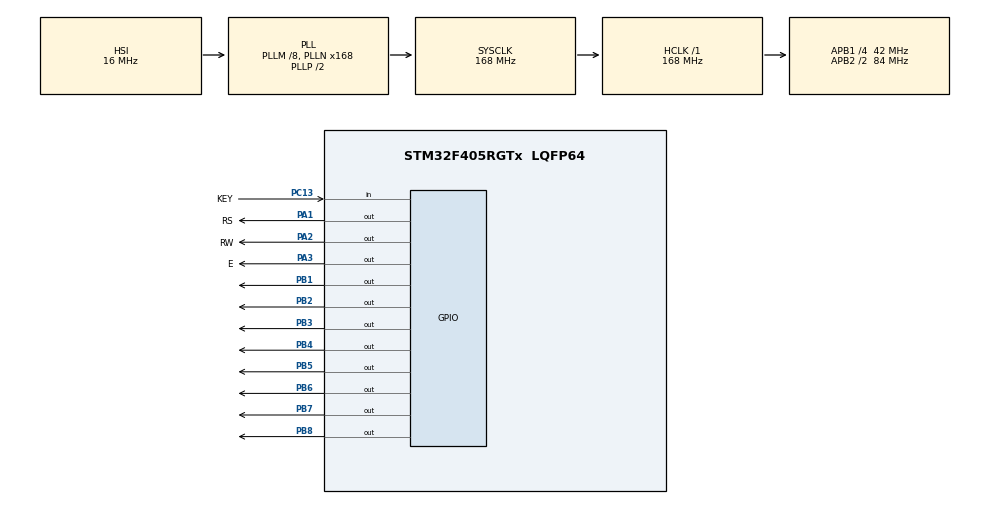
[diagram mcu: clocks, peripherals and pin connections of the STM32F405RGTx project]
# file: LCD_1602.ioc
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Mcu.Family=STM32F4
Mcu.Name=STM32F405RGTx
Mcu.Package=LQFP64
NVIC.PriorityGroup=NVIC_PRIORITYGROUP_4
PA1.GPIO_Label=RS
PA1.Signal=GPIO_Output
PA13.Mode=Serial_Wire
PA13.Signal=SYS_JTMS-SWDIO
PA14.Mode=Serial_Wire
PA14.Signal=SYS_JTCK-SWCLK
PA2.GPIO_Label=RW
PA2.Signal=GPIO_Output
PA3.GPIO_Label=E
PA3.Signal=GPIO_Output
PB1.Signal=GPIO_Output
PB2.Signal=GPIO_Output
PB3.Signal=GPIO_Output
PB4.Signal=GPIO_Output
PB5.Signal=GPIO_Output
PB6.Signal=GPIO_Output
PB7.Signal=GPIO_Output
PB8.Signal=GPIO_Output
PC13-ANTI_TAMP.GPIO_Label=KEY
PC13-ANTI_TAMP.GPIO_PuPd=GPIO_PULLDOWN
PC13-ANTI_TAMP.Signal=GPIO_Input
PC14-OSC32_IN.Mode=LSE-External-Oscillator
PC14-OSC32_IN.Signal=RCC_OSC32_IN
PC15-OSC32_OUT.Mode=LSE-External-Oscillator
PC15-OSC32_OUT.Signal=RCC_OSC32_OUT
PH0-OSC_IN.Mode=HSE-External-Oscillator
PH0-OSC_IN.Signal=RCC_OSC_IN
PH1-OSC_OUT.Mode=HSE-External-Oscillator
PH1-OSC_OUT.Signal=RCC_OSC_OUT
ProjectManager.HeapSize=0x200
ProjectManager.StackSize=0x400
ProjectManager.TargetToolchain=MDK-ARM V5.32
RCC.48MHZClocksFreq_Value=84000000
RCC.AHBFreq_Value=168000000
RCC.APB1CLKDivider=RCC_HCLK_DIV4
RCC.APB1Freq_Value=42000000
RCC.APB1TimFreq_Value=84000000
RCC.APB2CLKDivider=RCC_HCLK_DIV2
RCC.APB2Freq_Value=84000000
RCC.APB2TimFreq_Value=168000000
RCC.CortexFreq_Value=168000000
RCC.HCLKFreq_Value=168000000
RCC.HSE_VALUE=8000000
RCC.HSI_VALUE=16000000
RCC.PLLM=8
RCC.PLLN=168
RCC.SYSCLKFreq_VALUE=168000000
RCC.SYSCLKSource=RCC_SYSCLKSOURCE_PLLCLK
RCC.VCOOutputFreq_Value=336000000
board=custom

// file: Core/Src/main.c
/* USER CODE BEGIN Header */
/**
  ******************************************************************************
  * @file           : main.c
  * @brief          : Main program body
  ******************************************************************************
  * @attention
  *
  * Copyright (c) 2026 STMicroelectronics.
  * All rights reserved.
  *
  * This software is licensed under terms that can be found in the LICENSE file
  * in the root directory of this software component.
  * If no LICENSE file comes with this software, it is provided AS-IS.
  *
  ******************************************************************************
  */
/* USER CODE END Header */
#include "main.h"

void SystemClock_Config(void);
static void MX_GPIO_Init(void);
/* USER CODE BEGIN PFP */
void LCD_Write_Byte(uint8_t byte,int mode);
void LCD_cmd(uint8_t cmd);
void LCD_Print_Char(char chr);
void LCD_Print_Str(char *ptr);
void LCD_Init();
/* USER CODE END PFP */

int main(void)
{

  /* USER CODE BEGIN 1 */
//	uint8_t count=0;
//	uint8_t key_pre = 0;
//	char str[2];
  /* USER CODE END 1 */

  /* MCU Configuration--------------------------------------------------------*/

  /* Reset of all peripherals, Initializes the Flash interface and the Systick. */
  HAL_Init();

  /* Configure the system clock */
  SystemClock_Config();

  /* Initialize all configured peripherals */
  MX_GPIO_Init();
  /* USER CODE BEGIN 2 */
		LCD_Init();
		//LCD_Print_Char('D');
		//LCD_Print_Char('U');
		//LCD_Print_Char('N');
		//LCD_Print_Char('G');
		LCD_Print_Str("NGOC DUNG");
		LCD_cmd(0xC0);
		LCD_Print_Str("LAP2");
  /* USER CODE END 2 */

  /* Infinite loop */
  /* USER CODE BEGIN WHILE */
  while (1)
  {
//			if(HAL_GPIO_ReadPin(GPIOC, KEY_Pin) == 1){
//				if(count < 15){
//					count = count + 1;
//				}
//				else{
//					count = 0;
//				}
//				HAL_Delay(20);
//				while(HAL_GPIO_ReadPin(GPIOC, KEY_Pin) != key_pre);
//				key_pre = HAL_GPIO_ReadPin(GPIOC, KEY_Pin);
//			}
//			else{
//				count = count;
//			}
//			str[0]=count/10 + '0';
//			str[1]=count%10 + '0';
//			LCD_cmd(0xC1);
//			LCD_Print_Char(str[0]);
//			LCD_Print_Char(str[1]);
    /* USER CODE END WHILE */

  }
}

void SystemClock_Config(void)
{
  RCC_OscInitTypeDef RCC_OscInitStruct = {0};
  RCC_ClkInitTypeDef RCC_ClkInitStruct = {0};

  /** Configure the main internal regulator output voltage
  */
  __HAL_RCC_PWR_CLK_ENABLE();
  __HAL_PWR_VOLTAGESCALING_CONFIG(PWR_REGULATOR_VOLTAGE_SCALE1);

  /** Initializes the RCC Oscillators according to the specified parameters
  * in the RCC_OscInitTypeDef structure.
  */
  RCC_OscInitStruct.OscillatorType = RCC_OSCILLATORTYPE_HSI;
  RCC_OscInitStruct.HSIState = RCC_HSI_ON;
  RCC_OscInitStruct.HSICalibrationValue = RCC_HSICALIBRATION_DEFAULT;
  RCC_OscInitStruct.PLL.PLLState = RCC_PLL_ON;
  RCC_OscInitStruct.PLL.PLLSource = RCC_PLLSOURCE_HSI;
  RCC_OscInitStruct.PLL.PLLM = 8;
  RCC_OscInitStruct.PLL.PLLN = 168;
  RCC_OscInitStruct.PLL.PLLP = RCC_PLLP_DIV2;
  RCC_OscInitStruct.PLL.PLLQ = 4;
  if (HAL_RCC_OscConfig(&RCC_OscInitStruct) != HAL_OK)
  {
    Error_Handler();
  }

  /** Initializes the CPU, AHB and APB buses clocks
  */
  RCC_ClkInitStruct.ClockType = RCC_CLOCKTYPE_HCLK|RCC_CLOCKTYPE_SYSCLK
                              |RCC_CLOCKTYPE_PCLK1|RCC_CLOCKTYPE_PCLK2;
  RCC_ClkInitStruct.SYSCLKSource = RCC_SYSCLKSOURCE_PLLCLK;
  RCC_ClkInitStruct.AHBCLKDivider = RCC_SYSCLK_DIV1;
  RCC_ClkInitStruct.APB1CLKDivider = RCC_HCLK_DIV4;
  RCC_ClkInitStruct.APB2CLKDivider = RCC_HCLK_DIV2;

  if (HAL_RCC_ClockConfig(&RCC_ClkInitStruct, FLASH_LATENCY_5) != HAL_OK)
  {
    Error_Handler();
  }
}

static void MX_GPIO_Init(void)
{
  GPIO_InitTypeDef GPIO_InitStruct = {0};

  /* GPIO Ports Clock Enable */
  __HAL_RCC_GPIOC_CLK_ENABLE();
  __HAL_RCC_GPIOH_CLK_ENABLE();
  __HAL_RCC_GPIOA_CLK_ENABLE();
  __HAL_RCC_GPIOB_CLK_ENABLE();

  /*Configure GPIO pin Output Level */
  HAL_GPIO_WritePin(GPIOA, RS_Pin|RW_Pin|E_Pin, GPIO_PIN_RESET);

  /*Configure GPIO pin Output Level */
  HAL_GPIO_WritePin(GPIOB, GPIO_PIN_1|GPIO_PIN_2|GPIO_PIN_3|GPIO_PIN_4
                          |GPIO_PIN_5|GPIO_PIN_6|GPIO_PIN_7|GPIO_PIN_8, GPIO_PIN_RESET);

  /*Configure GPIO pin : KEY_Pin */
  GPIO_InitStruct.Pin = KEY_Pin;
  GPIO_InitStruct.Mode = GPIO_MODE_INPUT;
  GPIO_InitStruct.Pull = GPIO_PULLDOWN;
  HAL_GPIO_Init(KEY_GPIO_Port, &GPIO_InitStruct);

  /*Configure GPIO pins : RS_Pin RW_Pin E_Pin */
  GPIO_InitStruct.Pin = RS_Pin|RW_Pin|E_Pin;
  GPIO_InitStruct.Mode = GPIO_MODE_OUTPUT_PP;
  GPIO_InitStruct.Pull = GPIO_NOPULL;
  GPIO_InitStruct.Speed = GPIO_SPEED_FREQ_LOW;
  HAL_GPIO_Init(GPIOA, &GPIO_InitStruct);

  /*Configure GPIO pins : PB1 PB2 PB3 PB4
                           PB5 PB6 PB7 PB8 */
  GPIO_InitStruct.Pin = GPIO_PIN_1|GPIO_PIN_2|GPIO_PIN_3|GPIO_PIN_4
                          |GPIO_PIN_5|GPIO_PIN_6|GPIO_PIN_7|GPIO_PIN_8;
  GPIO_InitStruct.Mode = GPIO_MODE_OUTPUT_PP;
  GPIO_InitStruct.Pull = GPIO_NOPULL;
  GPIO_InitStruct.Speed = GPIO_SPEED_FREQ_LOW;
  HAL_GPIO_Init(GPIOB, &GPIO_InitStruct);

}

/* USER CODE BEGIN 4 */
	void LCD_Write_Byte(uint8_t byte,int mode){
		HAL_GPIO_WritePin(GPIOA, RS_Pin, mode); // 0: dieu khien , 1: hien thi
		HAL_GPIO_WritePin(GPIOA, RW_Pin,0);// write

		HAL_GPIO_WritePin(GPIOB, GPIO_PIN_1, (byte & 0x01) ? 1 : 0);//PB1
		HAL_GPIO_WritePin(GPIOB, GPIO_PIN_2, (byte & 0x02) ? 1 : 0);//PB2
		HAL_GPIO_WritePin(GPIOB, GPIO_PIN_3, (byte & 0x04) ? 1 : 0);//PB3
		HAL_GPIO_WritePin(GPIOB, GPIO_PIN_4, (byte & 0x08) ? 1 : 0);//PB4
		HAL_GPIO_WritePin(GPIOB, GPIO_PIN_5, (byte & 0x10) ? 1 : 0);//PB5
		HAL_GPIO_WritePin(GPIOB, GPIO_PIN_6, (byte & 0x20) ? 1 : 0);//PB6
		HAL_GPIO_WritePin(GPIOB, GPIO_PIN_7, (byte & 0x40) ? 1 : 0);//PB7
		HAL_GPIO_WritePin(GPIOB, GPIO_PIN_8, (byte & 0x80) ? 1 : 0);//PB8

		HAL_GPIO_WritePin(GPIOA, E_Pin, 1);//E=1
		HAL_Delay(10);
		HAL_GPIO_WritePin(GPIOA, E_Pin, 0);//E=0
	};

	void LCD_cmd(uint8_t cmd){
		LCD_Write_Byte(cmd, 0);
	};

	void LCD_Print_Char(char chr){
		LCD_Write_Byte(chr, 1);
	};

	void LCD_Print_Str(char *ptr){
		while(*ptr != '\0'){
			LCD_Print_Char(*ptr);
			ptr = ptr + 1;
		}
	};

	void LCD_Init(){
		LCD_cmd(0x0C);
		LCD_cmd(0x38);
		LCD_cmd(0x80);
		LCD_cmd(0x01);
		HAL_Delay(10);
	};
/* USER CODE END 4 */

void Error_Handler(void)
{
  __disable_irq();
  while (1)
  {
  }
}
